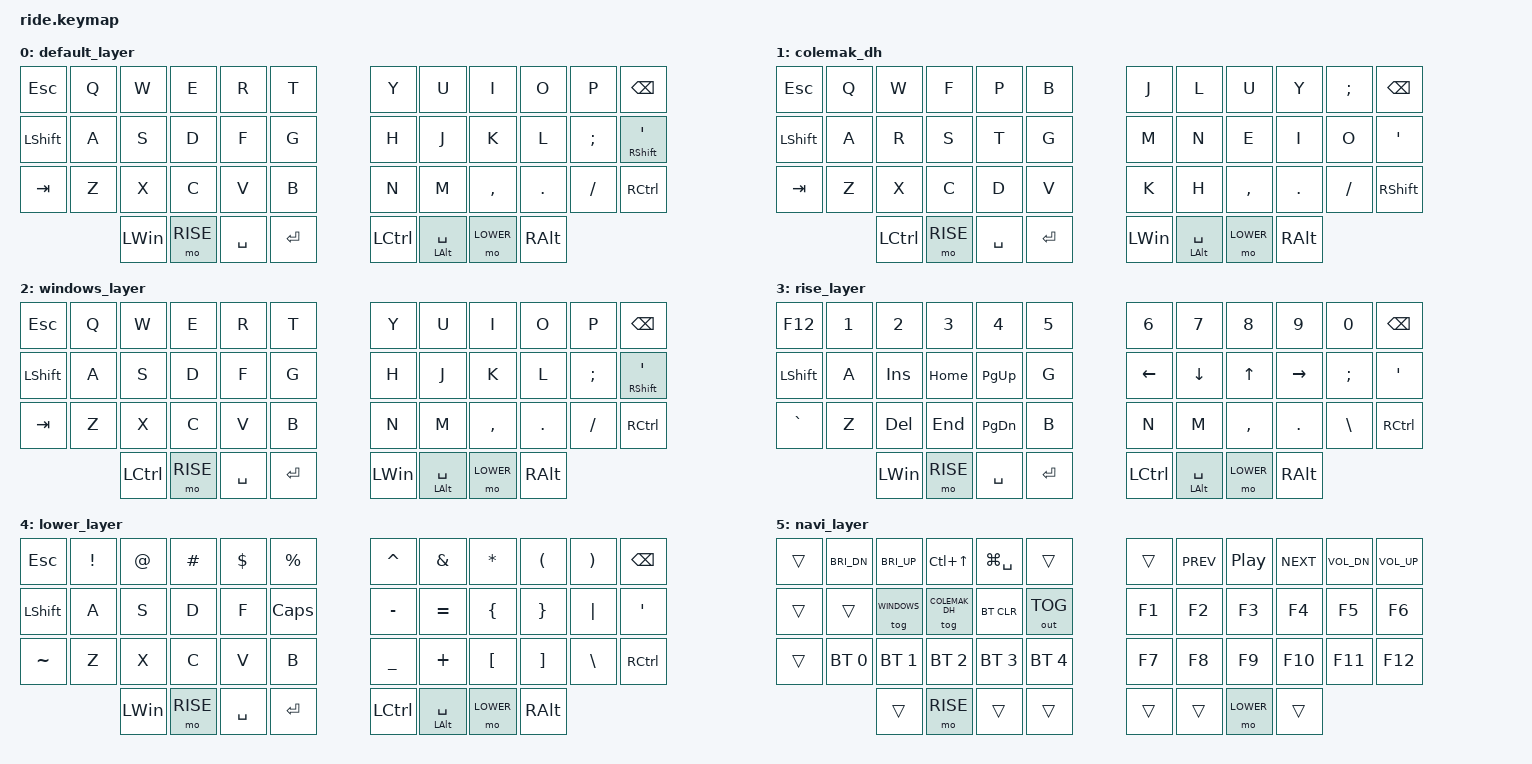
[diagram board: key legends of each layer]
/*
 * Copyright (c) 2020 The ZMK Contributors
 *
 * SPDX-License-Identifier: MIT
 */

#include <behaviors.dtsi>
#include <dt-bindings/zmk/keys.h>
#include <dt-bindings/zmk/bt.h>
#include <dt-bindings/zmk/outputs.h>

#define DEFAULT 0 // Default/base layer
#define COLEMAK_DH 1 // layer with custom colemak_dh key layout
#define WINDOWS 2 // layer with swaped keys for windows SYSTEM/WIN/CMD <-> CTRL
#define RISE 3 // rise layer consists of number in top row, arrows, action and control keys
#define LOWER 4 // lower layer consists of special chars
#define NAVI 5 // navi_layer, bluetooth controls, function keys(F1, F2 etc.), play control, output toogle to cable/wireless

/ {
	// behaviors {
	// 	compatible = "zmk,behavior-press";
	// };

	conditional_layers {
		compatible = "zmk,conditional-layers";
		tri_layer {
			if-layers = <3 4>;
			then-layer = <5>;
		};
	};
	
	keymap {
		compatible = "zmk,keymap";

		default_layer {
// ----------------------------------------------------------------------------------------------------------------------------------
// |  ESC  |  Q  |  W  |  E   |  R   |  T   |                                          |  Y   |  U    |  I    |  O   |   P   | BSCP |
// | SHIFT |  A  |  S  |  D   |  F   |  G   |                                          |  H   |  J    |  K    |  L   |   ;   | '/SHFT |
// | TAB   |  Z  |  X  |  C   |  V   |  B   |                                          |  N   |  M    |  ,    |  .   |   /   | RCTRL |
//                          | LWIN  | RISE  |  SPACE  |   ENTER   |   |   LCTRL  |  SPACE/LALT  | LOWER  | RALT  |
			bindings = <
	&kp ESC &kp Q &kp W &kp E &kp R &kp T                                                &kp Y &kp U  &kp I &kp O &kp P &kp BSPC
	&kp LSHFT &kp A &kp S &kp D &kp F &kp G                                              &kp H &kp J  &kp K &kp L &kp SEMI &mt RSHIFT SQT
	&kp TAB &kp Z &kp X &kp C &kp V &kp B                                                &kp N &kp M  &kp COMMA &kp DOT &kp FSLH &kp RCTRL
							  &kp LWIN &mo RISE &kp SPACE &kp ENTER        &kp LCTRL  &mt LALT SPACE  &mo LOWER &kp RALT
			>;
		};

		colemak_dh {
// ----------------------------------------------------------------------------------------------------------------------------------
// |  ESC  |  Q  |  W  |  F   |  P   |  B   |                                          |  J   |  L    |  U    |  Y   |   ;   | BSCP |
// | SHIFT |  A  |  R  |  S   |  T   |  G   |                                          |  M   |  N    |  E    |  I   |   O   |   '  |
// | TAB   |  Z  |  X  |  C   |  D   |  V   |                                          |  K   |  H    |  ,    |  .   |   /   | SHIFT |
//                          | LWIN  | RISE  |  SPACE  |   ENTER   |   |   ESC  |  SPACE/LALT  | LOWER  | RALT  |
			bindings = <
	&kp ESC &kp Q &kp W &kp F &kp P &kp B                                                &kp J &kp L  &kp U &kp Y &kp SEMI &kp BSPC
	&kp LSHFT &kp A &kp R &kp S &kp T &kp G                                              &kp M &kp N  &kp E &kp I &kp O &kp SQT
	&kp TAB &kp Z &kp X &kp C &kp D &kp V                                                &kp K &kp H  &kp COMMA &kp DOT &kp FSLH &kp RSHIFT
	                         &kp LCTRL &mo RISE &kp SPACE &kp ENTER        &kp LWIN  &mt LALT SPACE  &mo LOWER &kp RALT
			>;
		};

		windows_layer {
// ----------------------------------------------------------------------------------------------------------------------------------
// |  ESC  |  Q  |  W  |  E   |  R   |  T   |                                          |  Y   |  U    |  I    |  O   |   P   | BSCP |
// | SHIFT |  A  |  S  |  D   |  F   |  G   |                                          |  H   |  J    |  K    |  L   |   ;   |   '  |
// | TAB   |  Z  |  X  |  C   |  V   |  B   |                                          |  N   |  M    |  ,    |  .   |   /   | SHIFT |
//                          | LCTRL  | RISE  |  SPACE  |   ENTER   |   |   LWIN  |  SPACE/LALT  | LOWER  | RALT  |
			bindings = <
	&kp ESC &kp Q &kp W &kp E &kp R &kp T                                                &kp Y &kp U  &kp I &kp O &kp P &kp BSPC
	&kp LSHFT &kp A &kp S &kp D &kp F &kp G                                              &kp H &kp J  &kp K &kp L &kp SEMI &mt RSHIFT SQT
	&kp TAB &kp Z &kp X &kp C &kp V &kp B                                                &kp N &kp M  &kp COMMA &kp DOT &kp FSLH &kp RCTRL
	                         &kp LCTRL &mo RISE &kp SPACE &kp ENTER        &kp LWIN  &mt LALT SPACE  &mo LOWER &kp RALT
			>;
		};
   
      rise_layer {
// ---------------------------------------------------------------------------------------------------------------------------------
// |  F12  |  1  |  2    |  3  |  4     |  5 |                                          |  6   |  7    |  8    |  9   |   0   | BSCP |
// | SHIFT |  A  |INSERT | HOME| PGUP   |  G |                                          | LEFT | DOWN  |  UP   | RIGHT|   ;   |   '  |
// | `/~   |  Z  |DELETE | END | PGDOWN |  B |                                          |  N   |  M    |  ,    |  .   |   \   | CTRL |
//                          | LWIN  | RISE  |  SPACE   |   ENTER   |   |   LCTRL  |  SPACE/LALT  | LOWER  | RALT  |
			bindings = <
	&kp F12 &kp N1 &kp N2 &kp N3 &kp N4 &kp N5                                           &kp N6 &kp N7 &kp N8 &kp N9 &kp N0 &kp BSPC
	&kp LSHFT &kp A &kp INS &kp HOME &kp PG_UP &kp G                                     &kp LEFT &kp DOWN &kp UP &kp RIGHT &kp SEMI &kp SQT
	&kp GRAVE &kp Z &kp DEL &kp END &kp PG_DN &kp B                                      &kp N &kp M &kp COMMA &kp DOT &kp BSLH &kp RCTRL
	                         &kp LWIN &mo RISE &kp SPACE &kp ENTER        &kp LCTRL  &mt LALT SPACE  &mo LOWER &kp RALT
			>;
		};

    	lower_layer {
// ---------------------------------------------------------------------------------------------------------------------------------
// |  ESC  |  !  |  @  |  #   |  $   |  %     |                                       |  ^   |  &    |  *    |  (   |   )   | BSCP |
// | SHIFT |  A  |  S  |  D   |  F   |CAPSLOCK|                                       |  -   |  =    |  {    |  }   |   |   |   '  |
// | ~     |  Z  |  X  |  C   |  V   |  B     |                                       |  _   |  +    |  [    |  ]   |   \   | CTRL |
//                          | LWIN  | RISE  |  SPACE  |   ENTER   |   |   LCTRL  |  SPACE/LALT  | LOWER  | RALT  |
			bindings = <
	&kp ESC &kp EXCL &kp AT &kp HASH &kp DLLR &kp PRCNT                                  &kp CARET &kp AMPS  &kp ASTRK &kp LPAR &kp RPAR &kp BSPC
	&kp LSHFT &kp A &kp S &kp D &kp F &kp CAPSLOCK                                       &kp MINUS &kp EQUAL &kp LBRC &kp RBRC &kp PIPE  &kp SQT
	&kp TILDE &kp Z &kp X &kp C &kp V &kp B                                              &kp UNDER &kp PLUS &kp LBKT &kp RBKT &kp BSLH &kp RCTRL
	                         &kp LWIN &mo RISE &kp SPACE &kp ENTER        &kp LCTRL  &mt LALT SPACE  &mo LOWER &kp RALT
			>;
		};

		navi_layer {
// ---------------------------------------------------------------------------------------------------------------------------------
// | - | C_BRI_DOWN | C_BRI_UP | mission ctl | spotlight  | --- |       | --- | previous | play/pause | next | vol down | vol up |  
// | -  | - | WIN | COLEMAK_DH | BT_clear | out_toggle |                | F1  | F2  | F3  | F4  | F5 | F6 | 
// | -  |BT_D1 |BT_D2 |BT_D3 |BT_D4 |BT_D5 |                            | F7  | F8 | F9 | F10 | F11 | F12 |
//                         				     |   | RISE  |    |    |   |    |    | LOWER  |   |
			bindings = <
	&trans &kp C_BRI_DN &kp C_BRI_UP &kp LC(UP) &kp LG(SPACE) &trans         &trans &kp C_PREV &kp C_PP &kp C_NEXT &kp C_VOL_DN &kp C_VOL_UP      
	&trans &trans &tog WINDOWS &tog COLEMAK_DH &bt BT_CLR &out OUT_TOG         &kp F1 &kp F2 &kp F3 &kp F4 &kp F5 &kp F6
	&trans &bt BT_SEL 0 &bt BT_SEL 1 &bt BT_SEL 2 &bt BT_SEL 3 &bt BT_SEL 4    &kp F7 &kp F8 &kp F9 &kp F10 &kp F11 &kp F12
	                         &trans &mo RISE &trans &trans       &trans  &trans  &mo LOWER &trans
			>;
		};
	};
};
